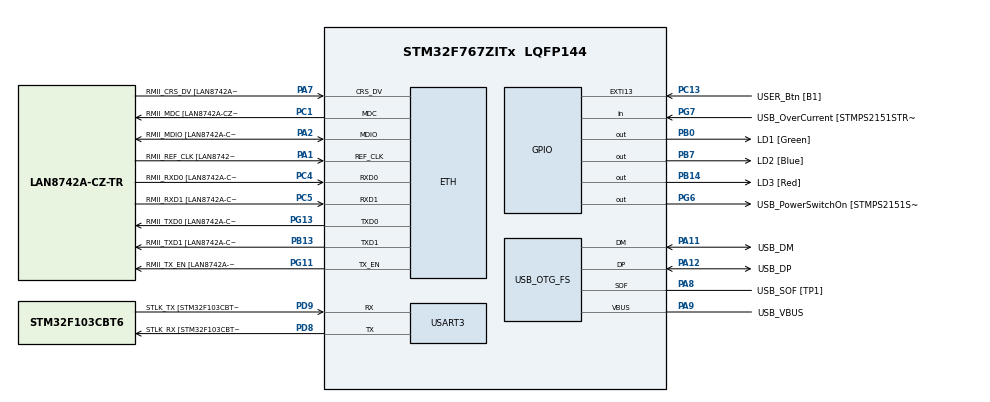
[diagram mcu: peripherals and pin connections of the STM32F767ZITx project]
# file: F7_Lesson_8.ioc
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ETH.MediaInterface=HAL_ETH_RMII_MODE
ETH.PHY_Name=LAN8742A_PHY_ADDRESS
ETH.PHY_Value=0
ETH.PhyAddress=0
Mcu.Family=STM32F7
Mcu.Name=STM32F767ZITx
Mcu.Package=LQFP144
NVIC.PriorityGroup=NVIC_PRIORITYGROUP_4
PA1.GPIO_Label=RMII_REF_CLK [LAN8742A-CZ-TR_REFCLK0]
PA1.Mode=RMII
PA1.Signal=ETH_REF_CLK
PA10.GPIO_Label=USB_ID
PA10.Signal=USB_OTG_FS_ID
PA11.GPIO_Label=USB_DM
PA11.Mode=Device_Only
PA11.Signal=USB_OTG_FS_DM
PA12.GPIO_Label=USB_DP
PA12.Mode=Device_Only
PA12.Signal=USB_OTG_FS_DP
PA13.GPIO_Label=TMS
PA13.Mode=Serial_Wire
PA13.Signal=SYS_JTMS-SWDIO
PA14.GPIO_Label=TCK
PA14.Mode=Serial_Wire
PA14.Signal=SYS_JTCK-SWCLK
PA2.GPIO_Label=RMII_MDIO [LAN8742A-CZ-TR_MDIO]
PA2.Mode=RMII
PA2.Signal=ETH_MDIO
PA7.GPIO_Label=RMII_CRS_DV [LAN8742A-CZ-TR_CRS_DV]
PA7.Mode=RMII
PA7.Signal=ETH_CRS_DV
PA8.GPIO_Label=USB_SOF [TP1]
PA8.Mode=Activate_SOF_FS
PA8.Signal=USB_OTG_FS_SOF
PA9.GPIO_Label=USB_VBUS
PA9.Mode=Activate_VBUS
PA9.Signal=USB_OTG_FS_VBUS
PB0.GPIO_Label=LD1 [Green]
PB0.Signal=GPIO_Output
PB13.GPIO_Label=RMII_TXD1 [LAN8742A-CZ-TR_TXD1]
PB13.Mode=RMII
PB13.Signal=ETH_TXD1
PB14.GPIO_Label=LD3 [Red]
PB14.Signal=GPIO_Output
PB3.GPIO_Label=SWO
PB3.Signal=SYS_JTDO-SWO
PB7.GPIO_Label=LD2 [Blue]
PB7.Signal=GPIO_Output
PC1.GPIO_Label=RMII_MDC [LAN8742A-CZ-TR_MDC]
PC1.Mode=RMII
PC1.Signal=ETH_MDC
PC13.GPIO_Label=USER_Btn [B1]
PC13.Signal=GPXTI13
PC14/OSC32_IN.Mode=LSE-External-Oscillator
PC14/OSC32_IN.Signal=RCC_OSC32_IN
PC15/OSC32_OUT.Mode=LSE-External-Oscillator
PC15/OSC32_OUT.Signal=RCC_OSC32_OUT
PC4.GPIO_Label=RMII_RXD0 [LAN8742A-CZ-TR_RXD0]
PC4.Mode=RMII
PC4.Signal=ETH_RXD0
PC5.GPIO_Label=RMII_RXD1 [LAN8742A-CZ-TR_RXD1]
PC5.Mode=RMII
PC5.Signal=ETH_RXD1
PD8.GPIO_Label=STLK_RX [STM32F103CBT6_PA3]
PD8.Mode=Asynchronous
PD8.Signal=USART3_TX
PD9.GPIO_Label=STLK_TX [STM32F103CBT6_PA2]
PD9.Mode=Asynchronous
PD9.Signal=USART3_RX
PG11.GPIO_Label=RMII_TX_EN [LAN8742A-CZ-TR_TXEN]
PG11.Mode=RMII
PG11.Signal=ETH_TX_EN
PG13.GPIO_Label=RMII_TXD0 [LAN8742A-CZ-TR_TXD0]
PG13.Mode=RMII
PG13.Signal=ETH_TXD0
PG6.GPIO_Label=USB_PowerSwitchOn [STMPS2151STR_EN]
PG6.Signal=GPIO_Output
PG7.GPIO_Label=USB_OverCurrent [STMPS2151STR_FAULT]
PG7.Signal=GPIO_Input
PH0/OSC_IN.GPIO_Label=MCO [STM32F103CBT6_PA8]
PH0/OSC_IN.Mode=HSE-External-Clock-Source
PH0/OSC_IN.Signal=RCC_OSC_IN
PH1/OSC_OUT.Mode=HSE-External-Clock-Source
PH1/OSC_OUT.Signal=RCC_OSC_OUT
ProjectManager.HeapSize=0x200
ProjectManager.StackSize=0x400
ProjectManager.TargetToolchain=STM32CubeIDE
RCC.48MHZClocksFreq_Value=24000000
RCC.AHBFreq_Value=96000000
RCC.APB1CLKDivider=RCC_HCLK_DIV2
RCC.APB1Freq_Value=48000000
RCC.APB1TimFreq_Value=96000000
RCC.APB2Freq_Value=96000000
RCC.APB2TimFreq_Value=96000000
RCC.CortexFreq_Value=96000000
RCC.HCLKFreq_Value=96000000
RCC.HSE_VALUE=8000000
RCC.HSI_VALUE=16000000
RCC.PLLM=4
RCC.PLLMUL=RCC_PLL_MUL9
RCC.PLLN=96
RCC.PLLQ=4
RCC.PRESCALERUSB=RCC_USBCLKSOURCE_PLL_DIV1_5
RCC.SYSCLKFreq_VALUE=96000000
RCC.SYSCLKSource=RCC_SYSCLKSOURCE_PLLCLK
RCC.SYSCLKSourceVirtual=RCC_SYSCLKSOURCE_PLLCLK
RCC.USBFreq_Value=48000000
RCC.VCOOutputFreq_Value=192000000
USART3.VirtualMode-Asynchronous=VM_ASYNC
USB_OTG_FS.VirtualMode=Device_Only
board=NUCLEO-F767ZI

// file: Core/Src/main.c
/* USER CODE BEGIN Header */
/**
  ******************************************************************************
  * @file           : main.c
  * @brief          : Main program body
  ******************************************************************************
  * @attention
  *
  * Copyright (c) 2025 STMicroelectronics.
  * All rights reserved.
  *
  * This software is licensed under terms that can be found in the LICENSE file
  * in the root directory of this software component.
  * If no LICENSE file comes with this software, it is provided AS-IS.
  *
  ******************************************************************************
  */
/* USER CODE END Header */
#include "main.h"
#include "string.h"

/* USER CODE BEGIN PD */

#define MY_GPIOB_BASE 0x40020400U
#define MY_GPIOB_ODR (*((unsigned int*)(MY_GPIOB_BASE + 0x14U)))
#define MY_GPIOB_BSRR (*((unsigned int*)(MY_GPIOB_BASE + 0x18U)))
#define MY_LED_BLUE (1U << 7)
#define MY_LED_RED (1U << 14)

/* USER CODE END PD */

#if defined ( __ICCARM__ ) /*!< IAR Compiler */
#pragma location=0x2007c000
ETH_DMADescTypeDef  DMARxDscrTab[ETH_RX_DESC_CNT]; /* Ethernet Rx DMA Descriptors */
#pragma location=0x2007c0a0
ETH_DMADescTypeDef  DMATxDscrTab[ETH_TX_DESC_CNT]; /* Ethernet Tx DMA Descriptors */

#elif defined ( __CC_ARM )  /* MDK ARM Compiler */

__attribute__((at(0x2007c000))) ETH_DMADescTypeDef  DMARxDscrTab[ETH_RX_DESC_CNT]; /* Ethernet Rx DMA Descriptors */
__attribute__((at(0x2007c0a0))) ETH_DMADescTypeDef  DMATxDscrTab[ETH_TX_DESC_CNT]; /* Ethernet Tx DMA Descriptors */

#elif defined ( __GNUC__ ) /* GNU Compiler */

ETH_DMADescTypeDef DMARxDscrTab[ETH_RX_DESC_CNT] __attribute__((section(".RxDecripSection"))); /* Ethernet Rx DMA Descriptors */
ETH_DMADescTypeDef DMATxDscrTab[ETH_TX_DESC_CNT] __attribute__((section(".TxDecripSection")));   /* Ethernet Tx DMA Descriptors */
#endif

ETH_TxPacketConfig TxConfig;

ETH_HandleTypeDef heth;

PCD_HandleTypeDef hpcd_USB_OTG_FS;

void SystemClock_Config(void);
static void MX_GPIO_Init(void);
static void MX_ETH_Init(void);
static void MX_USART3_UART_Init(void);
static void MX_USB_OTG_FS_PCD_Init(void);
/* USER CODE BEGIN PFP */

void delay1(void);
void delay2(int iter);

/* USER CODE END PFP */

int main(void)
{

  /* MCU Configuration--------------------------------------------------------*/

  /* Reset of all peripherals, Initializes the Flash interface and the Systick. */
  HAL_Init();

  /* Configure the system clock */
  SystemClock_Config();

  /* Initialize all configured peripherals */
  MX_GPIO_Init();
  MX_ETH_Init();
  MX_USART3_UART_Init();
  MX_USB_OTG_FS_PCD_Init();

  /* Infinite loop */
  /* USER CODE BEGIN WHILE */

  /*
   * DRY principle = DO NOT REAPEAT YOURSELF
   */

  MY_GPIOB_ODR |= MY_LED_BLUE; // Turn the blue led on

  while (1) {

      MY_GPIOB_ODR |= MY_LED_RED; // Turn the red led on

      delay1();

      MY_GPIOB_ODR &= ~MY_LED_RED; // Turn the red led off

      delay2(500000);
  }

  while (1)
  {
    /* USER CODE END WHILE */

  }
}

void SystemClock_Config(void)
{
  LL_FLASH_SetLatency(LL_FLASH_LATENCY_3);
  while(LL_FLASH_GetLatency()!= LL_FLASH_LATENCY_3)
  {
  }
  LL_PWR_SetRegulVoltageScaling(LL_PWR_REGU_VOLTAGE_SCALE3);
  LL_PWR_EnableOverDriveMode();
  LL_RCC_HSE_EnableBypass();
  LL_RCC_HSE_Enable();

   /* Wait till HSE is ready */
  while(LL_RCC_HSE_IsReady() != 1)
  {

  }
  LL_RCC_PLL_ConfigDomain_SYS(LL_RCC_PLLSOURCE_HSE, LL_RCC_PLLM_DIV_4, 96, LL_RCC_PLLP_DIV_2);
  LL_RCC_PLL_ConfigDomain_48M(LL_RCC_PLLSOURCE_HSE, LL_RCC_PLLM_DIV_4, 96, LL_RCC_PLLQ_DIV_4);
  LL_RCC_PLL_Enable();

   /* Wait till PLL is ready */
  while(LL_RCC_PLL_IsReady() != 1)
  {

  }
  while (LL_PWR_IsActiveFlag_VOS() == 0)
  {
  }
  LL_RCC_SetAHBPrescaler(LL_RCC_SYSCLK_DIV_1);
  LL_RCC_SetAPB1Prescaler(LL_RCC_APB1_DIV_2);
  LL_RCC_SetAPB2Prescaler(LL_RCC_APB2_DIV_1);
  LL_RCC_SetSysClkSource(LL_RCC_SYS_CLKSOURCE_PLL);

   /* Wait till System clock is ready */
  while(LL_RCC_GetSysClkSource() != LL_RCC_SYS_CLKSOURCE_STATUS_PLL)
  {

  }
  LL_SetSystemCoreClock(96000000);

   /* Update the time base */
  if (HAL_InitTick (TICK_INT_PRIORITY) != HAL_OK)
  {
    Error_Handler();
  }

   /* Set Timers Clock Prescalers */
  LL_RCC_SetTIMPrescaler(LL_RCC_TIM_PRESCALER_TWICE);
}

static void MX_ETH_Init(void)
{

   static uint8_t MACAddr[6];

  heth.Instance = ETH;
  MACAddr[0] = 0x00;
  MACAddr[1] = 0x80;
  MACAddr[2] = 0xE1;
  MACAddr[3] = 0x00;
  MACAddr[4] = 0x00;
  MACAddr[5] = 0x00;
  heth.Init.MACAddr = &MACAddr[0];
  heth.Init.MediaInterface = HAL_ETH_RMII_MODE;
  heth.Init.TxDesc = DMATxDscrTab;
  heth.Init.RxDesc = DMARxDscrTab;
  heth.Init.RxBuffLen = 1524;

  if (HAL_ETH_Init(&heth) != HAL_OK)
  {
    Error_Handler();
  }

  memset(&TxConfig, 0 , sizeof(ETH_TxPacketConfig));
  TxConfig.Attributes = ETH_TX_PACKETS_FEATURES_CSUM | ETH_TX_PACKETS_FEATURES_CRCPAD;
  TxConfig.ChecksumCtrl = ETH_CHECKSUM_IPHDR_PAYLOAD_INSERT_PHDR_CALC;
  TxConfig.CRCPadCtrl = ETH_CRC_PAD_INSERT;

}

static void MX_USART3_UART_Init(void)
{

  LL_USART_InitTypeDef USART_InitStruct = {0};

  LL_GPIO_InitTypeDef GPIO_InitStruct = {0};

  LL_RCC_SetUSARTClockSource(LL_RCC_USART3_CLKSOURCE_PCLK1);

  /* Peripheral clock enable */
  LL_APB1_GRP1_EnableClock(LL_APB1_GRP1_PERIPH_USART3);

  LL_AHB1_GRP1_EnableClock(LL_AHB1_GRP1_PERIPH_GPIOD);
  /**USART3 GPIO Configuration
  PD8   ------> USART3_TX
  PD9   ------> USART3_RX
  */
  GPIO_InitStruct.Pin = STLK_RX_Pin;
  GPIO_InitStruct.Mode = LL_GPIO_MODE_ALTERNATE;
  GPIO_InitStruct.Speed = LL_GPIO_SPEED_FREQ_VERY_HIGH;
  GPIO_InitStruct.OutputType = LL_GPIO_OUTPUT_PUSHPULL;
  GPIO_InitStruct.Pull = LL_GPIO_PULL_NO;
  GPIO_InitStruct.Alternate = LL_GPIO_AF_7;
  LL_GPIO_Init(STLK_RX_GPIO_Port, &GPIO_InitStruct);

  GPIO_InitStruct.Pin = STLK_TX_Pin;
  GPIO_InitStruct.Mode = LL_GPIO_MODE_ALTERNATE;
  GPIO_InitStruct.Speed = LL_GPIO_SPEED_FREQ_VERY_HIGH;
  GPIO_InitStruct.OutputType = LL_GPIO_OUTPUT_PUSHPULL;
  GPIO_InitStruct.Pull = LL_GPIO_PULL_NO;
  GPIO_InitStruct.Alternate = LL_GPIO_AF_7;
  LL_GPIO_Init(STLK_TX_GPIO_Port, &GPIO_InitStruct);

  USART_InitStruct.BaudRate = 115200;
  USART_InitStruct.DataWidth = LL_USART_DATAWIDTH_8B;
  USART_InitStruct.StopBits = LL_USART_STOPBITS_1;
  USART_InitStruct.Parity = LL_USART_PARITY_NONE;
  USART_InitStruct.TransferDirection = LL_USART_DIRECTION_TX_RX;
  USART_InitStruct.HardwareFlowControl = LL_USART_HWCONTROL_NONE;
  USART_InitStruct.OverSampling = LL_USART_OVERSAMPLING_16;
  LL_USART_Init(USART3, &USART_InitStruct);
  LL_USART_ConfigAsyncMode(USART3);
  LL_USART_Enable(USART3);

}

static void MX_USB_OTG_FS_PCD_Init(void)
{

  hpcd_USB_OTG_FS.Instance = USB_OTG_FS;
  hpcd_USB_OTG_FS.Init.dev_endpoints = 6;
  hpcd_USB_OTG_FS.Init.speed = PCD_SPEED_FULL;
  hpcd_USB_OTG_FS.Init.dma_enable = DISABLE;
  hpcd_USB_OTG_FS.Init.phy_itface = PCD_PHY_EMBEDDED;
  hpcd_USB_OTG_FS.Init.Sof_enable = ENABLE;
  hpcd_USB_OTG_FS.Init.low_power_enable = DISABLE;
  hpcd_USB_OTG_FS.Init.lpm_enable = DISABLE;
  hpcd_USB_OTG_FS.Init.vbus_sensing_enable = ENABLE;
  hpcd_USB_OTG_FS.Init.use_dedicated_ep1 = DISABLE;
  if (HAL_PCD_Init(&hpcd_USB_OTG_FS) != HAL_OK)
  {
    Error_Handler();
  }

}

static void MX_GPIO_Init(void)
{
  LL_EXTI_InitTypeDef EXTI_InitStruct = {0};
  LL_GPIO_InitTypeDef GPIO_InitStruct = {0};

  /* GPIO Ports Clock Enable */
  LL_AHB1_GRP1_EnableClock(LL_AHB1_GRP1_PERIPH_GPIOC);
  LL_AHB1_GRP1_EnableClock(LL_AHB1_GRP1_PERIPH_GPIOH);
  LL_AHB1_GRP1_EnableClock(LL_AHB1_GRP1_PERIPH_GPIOA);
  LL_AHB1_GRP1_EnableClock(LL_AHB1_GRP1_PERIPH_GPIOB);
  LL_AHB1_GRP1_EnableClock(LL_AHB1_GRP1_PERIPH_GPIOD);
  LL_AHB1_GRP1_EnableClock(LL_AHB1_GRP1_PERIPH_GPIOG);

  /**/
  LL_GPIO_ResetOutputPin(LD1_GPIO_Port, LD1_Pin);

  /**/
  LL_GPIO_ResetOutputPin(LD3_GPIO_Port, LD3_Pin);

  /**/
  LL_GPIO_ResetOutputPin(USB_PowerSwitchOn_GPIO_Port, USB_PowerSwitchOn_Pin);

  /**/
  LL_GPIO_ResetOutputPin(LD2_GPIO_Port, LD2_Pin);

  /**/
  LL_SYSCFG_SetEXTISource(LL_SYSCFG_EXTI_PORTC, LL_SYSCFG_EXTI_LINE13);

  /**/
  EXTI_InitStruct.Line_0_31 = LL_EXTI_LINE_13;
  EXTI_InitStruct.LineCommand = ENABLE;
  EXTI_InitStruct.Mode = LL_EXTI_MODE_IT;
  EXTI_InitStruct.Trigger = LL_EXTI_TRIGGER_RISING;
  LL_EXTI_Init(&EXTI_InitStruct);

  /**/
  LL_GPIO_SetPinPull(USER_Btn_GPIO_Port, USER_Btn_Pin, LL_GPIO_PULL_NO);

  /**/
  LL_GPIO_SetPinMode(USER_Btn_GPIO_Port, USER_Btn_Pin, LL_GPIO_MODE_INPUT);

  /**/
  GPIO_InitStruct.Pin = LD1_Pin;
  GPIO_InitStruct.Mode = LL_GPIO_MODE_OUTPUT;
  GPIO_InitStruct.Speed = LL_GPIO_SPEED_FREQ_LOW;
  GPIO_InitStruct.OutputType = LL_GPIO_OUTPUT_PUSHPULL;
  GPIO_InitStruct.Pull = LL_GPIO_PULL_NO;
  LL_GPIO_Init(LD1_GPIO_Port, &GPIO_InitStruct);

  /**/
  GPIO_InitStruct.Pin = LD3_Pin;
  GPIO_InitStruct.Mode = LL_GPIO_MODE_OUTPUT;
  GPIO_InitStruct.Speed = LL_GPIO_SPEED_FREQ_LOW;
  GPIO_InitStruct.OutputType = LL_GPIO_OUTPUT_PUSHPULL;
  GPIO_InitStruct.Pull = LL_GPIO_PULL_NO;
  LL_GPIO_Init(LD3_GPIO_Port, &GPIO_InitStruct);

  /**/
  GPIO_InitStruct.Pin = USB_PowerSwitchOn_Pin;
  GPIO_InitStruct.Mode = LL_GPIO_MODE_OUTPUT;
  GPIO_InitStruct.Speed = LL_GPIO_SPEED_FREQ_LOW;
  GPIO_InitStruct.OutputType = LL_GPIO_OUTPUT_PUSHPULL;
  GPIO_InitStruct.Pull = LL_GPIO_PULL_NO;
  LL_GPIO_Init(USB_PowerSwitchOn_GPIO_Port, &GPIO_InitStruct);

  /**/
  GPIO_InitStruct.Pin = USB_OverCurrent_Pin;
  GPIO_InitStruct.Mode = LL_GPIO_MODE_INPUT;
  GPIO_InitStruct.Pull = LL_GPIO_PULL_NO;
  LL_GPIO_Init(USB_OverCurrent_GPIO_Port, &GPIO_InitStruct);

  /**/
  GPIO_InitStruct.Pin = LD2_Pin;
  GPIO_InitStruct.Mode = LL_GPIO_MODE_OUTPUT;
  GPIO_InitStruct.Speed = LL_GPIO_SPEED_FREQ_LOW;
  GPIO_InitStruct.OutputType = LL_GPIO_OUTPUT_PUSHPULL;
  GPIO_InitStruct.Pull = LL_GPIO_PULL_NO;
  LL_GPIO_Init(LD2_GPIO_Port, &GPIO_InitStruct);

}

/* USER CODE BEGIN 4 */

void delay1(void) {
    int volatile counter;
    counter = 0;
    while (counter < 1000000) {
        ++counter;
    }
}

void delay2(int iter) {
    int volatile counter;
    counter = 0;
    while (counter < iter) {
        ++counter;
    }
}

/* USER CODE END 4 */

void Error_Handler(void)
{
  __disable_irq();
  while (1)
  {
  }
}
